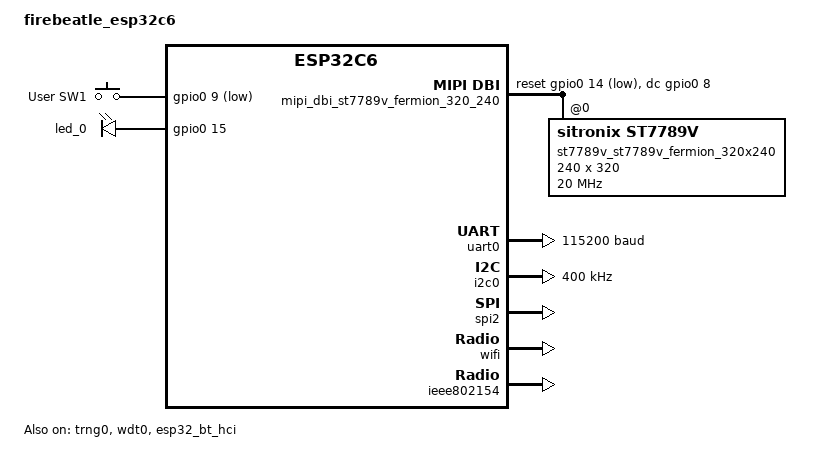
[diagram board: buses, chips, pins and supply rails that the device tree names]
/*
 * Copyright (c) 2023 Espressif Systems (Shanghai) Co., Ltd.
 *
 * SPDX-License-Identifier: Apache-2.0
 */

/dts-v1/;

#include <espressif/esp32c6/esp32c6_wroom_n8.dtsi>
#include "firebeatle_esp32c6_hpcore-pinctrl.dtsi"
#include <zephyr/dt-bindings/input/input-event-codes.h>
#include <espressif/partitions_0x0_default.dtsi>
#include <zephyr/dt-bindings/mipi_dbi/mipi_dbi.h>

/ {
	model = "firebeatle_esp32c6";
	compatible = "espressif,esp32c6";

	chosen {
		zephyr,sram = &sramhp;
		zephyr,console = &uart0;
		zephyr,shell-uart = &uart0;
		zephyr,flash = &flash0;
		zephyr,code-partition = &slot0_partition;
		zephyr,display = &st7789v_st7789v_fermion_320x240;
	};

	aliases {
		sw0 = &user_button1;
		watchdog0 = &wdt0;
		led0 = &led_0;
	};

	gpio_keys {
		compatible = "gpio-keys";
		user_button1: button_1 {
			label = "User SW1";
			gpios = <&gpio0 9 (GPIO_PULL_UP | GPIO_ACTIVE_LOW)>;
			zephyr,code = <INPUT_KEY_0>;
		};
	};
    leds {
		compatible = "gpio-leds";
        led_0: led_0 {
            gpios = <&gpio0 15 (GPIO_ACTIVE_HIGH)>;
         };
	};

    mipi_dbi_st7789v_fermion_320_240 {
		status = "okay";
		compatible = "zephyr,mipi-dbi-spi";
		spi-dev = <&spi2>;
		dc-gpios = <&gpio0 8 GPIO_ACTIVE_HIGH>;
		reset-gpios = <&gpio0 14 GPIO_ACTIVE_LOW>;
		#address-cells = <1>;
		#size-cells = <0>;

		write-only;

		st7789v_st7789v_fermion_320x240: st7789v@0 {
				compatible = "sitronix,st7789v";
				status = "okay";
				mipi-max-frequency = <20000000>;
				reg = <0>;
				width = <240>;
				height = <320>;
				x-offset = <0>;
				y-offset = <0>;
				vcom = <0x19>;
				gctrl = <0x35>;
				vrhs = <0x12>;
				vdvs = <0x20>;
				mdac = <0x00>;
				gamma = <0x01>;
				colmod = <0x05>;
				lcm = <0x2c>;
				porch-param = [0c 0c 00 33 33];
				cmd2en-param = [5a 69 02 01];
				pwctrl1-param = [a4 a1];
				pvgam-param = [D0 04 0D 11 13 2B 3F 54 4C 18 0D 0B 1F 23];
				nvgam-param = [D0 04 0C 11 13 2C 3F 44 51 2F 1F 1F 20 23];
				ram-param = [00 F0];
				rgb-param = [CD 08 14];
				mipi-mode = "MIPI_DBI_MODE_SPI_4WIRE";
		};
    };
};

&uart0 {
	status = "okay";
	current-speed = <115200>;
	pinctrl-0 = <&uart0_default>;
	pinctrl-names = "default";
};

&trng0 {
	status = "okay";
};

&i2c0 {
	status = "okay";
	clock-frequency = <I2C_BITRATE_FAST>;
	pinctrl-0 = <&i2c0_default>;
	pinctrl-names = "default";
};

&spi2 {
	#address-cells = <1>;
	#size-cells = <0>;
	status = "okay";
	pinctrl-0 = <&spim2_default>;
	pinctrl-names = "default";
};

&gpio0 {
	status = "okay";
};

&wdt0 {
	status = "okay";
};
&wifi {
	status = "okay";
};

&ieee802154 {
	status = "okay";
};

&esp32_bt_hci {
	status = "okay";
};
